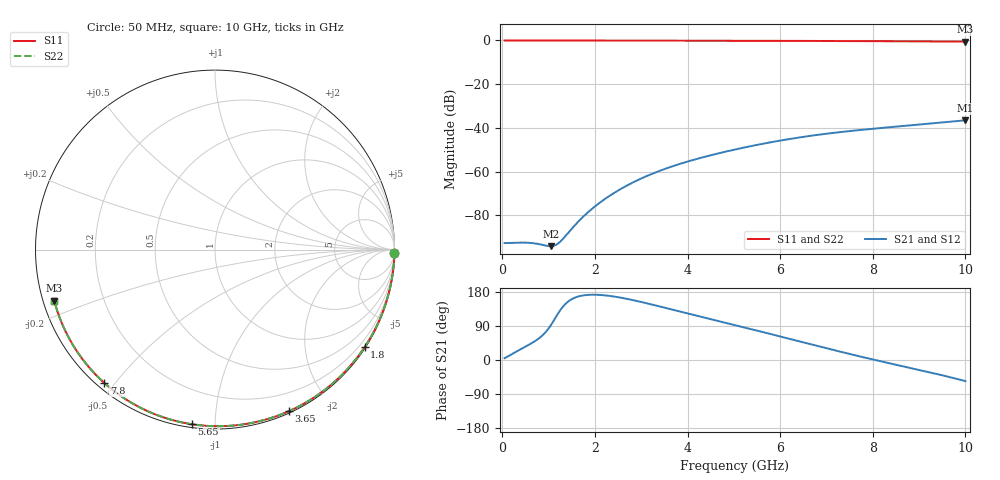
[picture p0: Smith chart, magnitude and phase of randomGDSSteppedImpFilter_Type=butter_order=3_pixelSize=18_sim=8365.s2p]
! freq	dB(S11)	phase(S11)	dB(S12)	phase(S12)
!  dB(S21)	phase(S21)	dB(S22)	phase(S22)
!S-par simulation data
#  GHz  S  DB  R 50
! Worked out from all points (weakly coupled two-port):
!   200 points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, 50 MHz to 10 GHz, reference 50 ohm
!   highest |S21| = -36.54 dB at 10 GHz (marker M1); lowest = -94.1 dB at 1.05 GHz (marker M2)
!   lowest |S11| = -0.5 dB at 10 GHz (marker M3), VSWR 32.22, Z = 1.59 - j7.73 ohm
!   |S11| at or under -10 dB: nowhere
!   |S22| runs from -0.5 to 0.0 dB; largest |S21 - S12| = 0
!   S11 on the Smith chart (normalised r, x): 50 MHz: open; 1.8 GHz: 0.03, -3.36; 3.65 GHz: 0.02, -1.56; 5.65 GHz: 0.02, -0.88; 7.8 GHz: 0.02, -0.47; 10 GHz: 0.03, -0.15
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0.05  -0.00 -0.9  -92.72 4.9  -92.72 4.9  -0.00 -0.9
0.55  -0.01 -10.3  -92.56 38.6  -92.56 38.6  -0.01 -10.3
1.05  -0.02 -19.5  -94.13 92.0  -94.13 92.0  -0.02 -19.5
1.75  -0.04 -32.3  -80.58 170.5  -80.58 170.5  -0.04 -32.3
1.8  -0.04 -33.2  -79.59 171.3  -79.59 171.3  -0.04 -33.2
1.95  -0.05 -35.8  -76.81 172.3  -76.81 172.3  -0.05 -35.8
2.15  -0.05 -39.4  -73.53 171.3  -73.53 171.3  -0.05 -39.4
2.5  -0.06 -45.6  -68.67 165.7  -68.67 165.7  -0.06 -45.6
2.7  -0.06 -49.1  -66.29 161.1  -66.29 161.1  -0.06 -49.1
2.95  -0.07 -53.4  -63.65 154.5  -63.65 154.5  -0.07 -53.4
3.4  -0.08 -61.1  -59.64 141.2  -59.64 141.2  -0.08 -61.1
3.65  -0.09 -65.4  -57.75 133.6  -57.75 133.6  -0.09 -65.4
4.3  -0.11 -76.1  -53.63 113.6  -53.63 113.6  -0.11 -76.1
5.05  -0.14 -88.1  -49.79 91.1  -49.79 91.1  -0.14 -88.1
5.65  -0.16 -97.5  -47.17 73.0  -47.17 73.0  -0.16 -97.5
6.15  -0.19 -105.1  -45.28 57.5  -45.28 57.5  -0.19 -105.1
6.7  -0.22 -113.4  -43.51 40.3  -43.51 40.3  -0.22 -113.4
7.25  -0.26 -121.5  -42.04 23.4  -42.04 23.4  -0.26 -121.5
7.8  -0.30 -129.6  -40.82 7.2  -40.82 7.2  -0.30 -129.6
8.35  -0.36 -137.7  -39.73 -8.3  -39.73 -8.3  -0.36 -137.7
9.2  -0.45 -150.3  -38.09 -31.8  -38.09 -31.8  -0.45 -150.3
10  -0.54 -162.4  -36.54 -55.6  -36.54 -55.6  -0.54 -162.4
